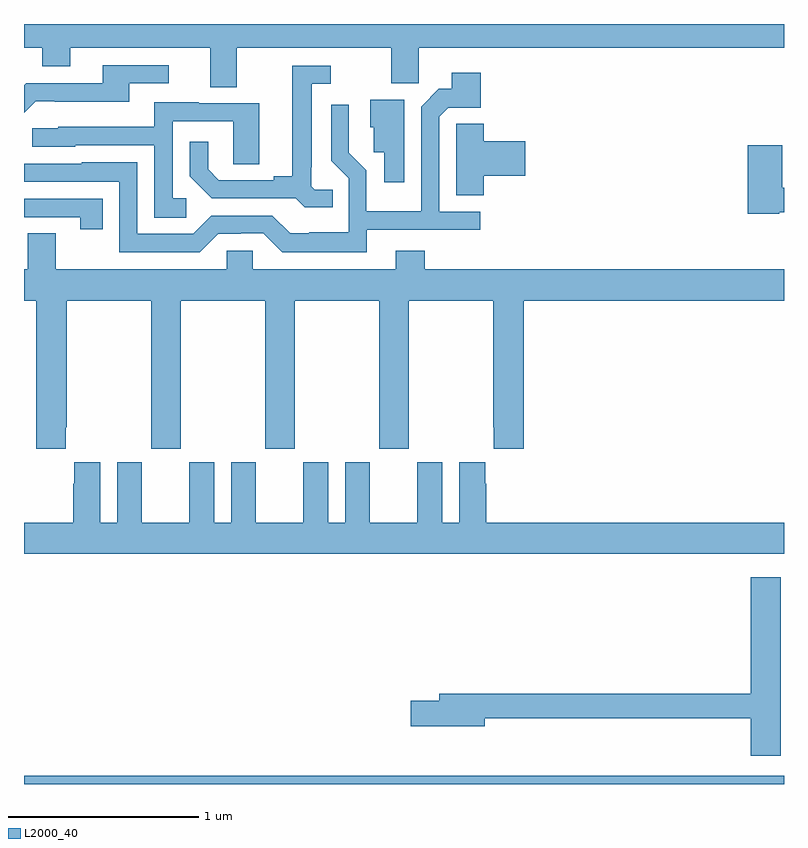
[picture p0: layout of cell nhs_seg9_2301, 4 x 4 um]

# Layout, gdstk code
import gdstk
lib = gdstk.Library(unit=1e-6, precision=1e-09)
def R(c, l, rs):  # rectangles x0, y0, x1, y1
    for r in rs: c.add(gdstk.rectangle(r[:2], r[2:], *l))
def P(c, l, *ps):  # polygons
    for p in ps: c.add(gdstk.Polygon(p, *l))
L2000_40 = (2000, 40)

nhs_seg9_2301 = lib.new_cell('nhs_seg9_2301')
R(nhs_seg9_2301, L2000_40, [(241,1236.5,245,1236.544)])
P(nhs_seg9_2301, L2000_40, [(242.119,1240.376),(242.932,1240.376),(242.932,1240.187),(243.078,1240.187),(243.078,1240.376),(245,1240.376),(245,1240.5),(241,1240.5),(241,1240.376),(241.096,1240.376),(241.096,1240.277),(241.243,1240.277),(241.243,1240.376),(241.979,1240.376),(241.979,1240.168),(242.119,1240.168)],
  [(241.061,1240.094),(241.162,1240.094),(241.162,1240.091),(241.555,1240.091),(241.555,1240.188),(241.762,1240.188),(241.762,1240.284),(241.415,1240.284),(241.415,1240.188),(241.011,1240.188),(241,1240.177),(241,1240.033)],
  [(242.624,1239.627),(242.529,1239.627),(242.511,1239.645),(242.511,1239.745),(242.515,1239.745),(242.515,1240.185),(242.614,1240.185),(242.614,1240.281),(242.411,1240.281),(242.411,1239.698),(242.315,1239.698),(242.315,1239.678),(242.026,1239.678),(241.969,1239.735),(241.969,1239.88),(241.872,1239.88),(241.872,1239.698),(241.988,1239.582),(242.43,1239.582),(242.478,1239.535),(242.624,1239.535)],
  [(242.803,1239.417),(243.4,1239.417),(243.4,1239.513),(243.186,1239.513),(243.186,1240.011),(243.234,1240.059),(243.404,1240.059),(243.404,1240.243),(243.251,1240.243),(243.251,1240.158),(243.183,1240.158),(243.09,1240.065),(243.09,1239.514),(242.802,1239.514),(242.802,1239.73),(242.71,1239.822),(242.71,1240.075),(242.616,1240.075),(242.616,1239.78),(242.709,1239.687),(242.709,1239.403),(242.5,1239.403),(242.5,1239.399),(242.4,1239.399),(242.307,1239.492),(241.986,1239.492),(241.89,1239.396),(241.596,1239.396),(241.596,1239.772),(241.305,1239.772),(241.305,1239.765),(241,1239.765),(241,1239.669),(241.5,1239.669),(241.5,1239.3),(241.926,1239.3),(242.022,1239.396),(242.142,1239.396),(242.142,1239.399),(242.259,1239.399),(242.359,1239.299),(242.803,1239.299)],
  [(243.001,1240.102),(242.822,1240.102),(242.822,1239.957),(242.841,1239.957),(242.841,1239.825),(242.897,1239.825),(242.897,1239.666),(243.001,1239.666)],
  [(241.855,1239.582),(241.782,1239.582),(241.782,1239.987),(242.1,1239.987),(242.1,1239.763),(242.239,1239.763),(242.239,1240.083),(241.921,1240.083),(241.921,1240.087),(241.685,1240.087),(241.685,1239.958),(241.179,1239.958),(241.179,1239.951),(241.044,1239.951),(241.044,1239.855),(241.269,1239.855),(241.269,1239.861),(241.686,1239.861),(241.686,1239.481),(241.855,1239.481)],
  [(243.419,1239.701),(243.637,1239.701),(243.637,1239.884),(243.419,1239.884),(243.419,1239.974),(243.276,1239.974),(243.276,1239.866),(243.275,1239.866),(243.275,1239.598),(243.419,1239.598)],
  [(244.974,1239.51),(245,1239.51),(245,1239.638),(244.991,1239.638),(244.991,1239.862),(244.808,1239.862),(244.808,1239.502),(244.974,1239.502)],
  [(241.415,1239.579),(241,1239.579),(241,1239.483),(241.297,1239.483),(241.297,1239.42),(241.415,1239.42)],
  [(241.219,1238.377),(241.224,1238.377),(241.224,1239.044),(241.669,1239.044),(241.669,1238.265),(241.824,1238.265),(241.824,1239.044),(242.269,1239.044),(242.269,1238.265),(242.424,1238.265),(242.424,1239.044),(242.869,1239.044),(242.869,1238.265),(243.024,1238.265),(243.024,1239.044),(243.469,1239.044),(243.469,1238.377),(243.473,1238.377),(243.473,1238.265),(243.629,1238.265),(243.629,1239.044),(245,1239.044),(245,1239.208),(243.11,1239.208),(243.11,1239.307),(242.957,1239.307),(242.957,1239.208),(242.205,1239.208),(242.205,1239.306),(242.067,1239.306),(242.067,1239.208),(241.167,1239.208),(241.167,1239.398),(241.019,1239.398),(241.019,1239.208),(241,1239.208),(241,1239.044),(241.064,1239.044),(241.064,1238.265),(241.219,1238.265)],
  [(245,1237.876),(243.434,1237.876),(243.434,1238.081),(243.427,1238.081),(243.427,1238.194),(243.29,1238.194),(243.29,1237.876),(243.202,1237.876),(243.202,1238.194),(243.071,1238.194),(243.071,1237.876),(242.821,1237.876),(242.821,1238.194),(242.69,1238.194),(242.69,1237.876),(242.602,1237.876),(242.602,1238.194),(242.471,1238.194),(242.471,1237.876),(242.221,1237.876),(242.221,1238.194),(242.09,1238.194),(242.09,1237.876),(242.002,1237.876),(242.002,1238.194),(241.871,1238.194),(241.871,1237.876),(241.621,1237.876),(241.621,1238.194),(241.49,1238.194),(241.49,1237.876),(241.402,1237.876),(241.402,1238.194),(241.265,1238.194),(241.265,1238.081),(241.259,1238.081),(241.259,1237.876),(241,1237.876),(241,1237.712),(245,1237.712)],
  [(244.984,1237.588),(244.826,1237.588),(244.826,1236.974),(243.185,1236.974),(243.185,1236.938),(243.036,1236.938),(243.036,1236.803),(243.424,1236.803),(243.424,1236.846),(244.826,1236.846),(244.826,1236.648),(244.984,1236.648)])

lib.write_gds('nhs_seg9_2301.gds')
